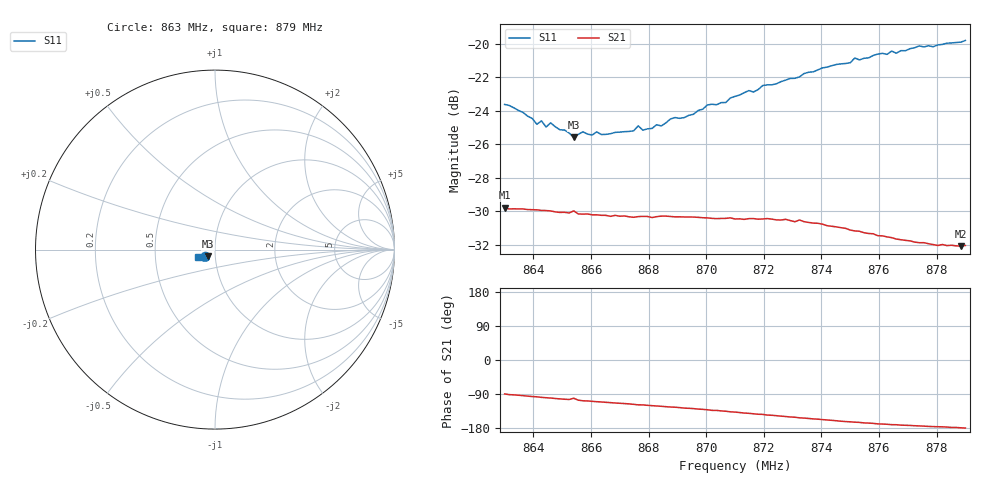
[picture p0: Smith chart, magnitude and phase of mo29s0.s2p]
# HZ S RI R 50
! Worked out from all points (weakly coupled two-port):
!   101 points, 863 MHz to 879 MHz, reference 50 ohm
!   highest |S21| = -29.78 dB at 863 MHz (marker M1); lowest = -32.1 dB at 878.84 MHz (marker M2)
!   lowest |S11| = -25.6 dB at 865.4 MHz (marker M3), VSWR 1.11, Z = 46.3 - j3.46 ohm
!   |S11| at or under -10 dB: start of sweep to end of sweep
!   S12 and S22 are empty: the file has one direction only
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8.63e8  -0.0538 -0.0382  0.0003 -0.0324  0 0  0 0
8.6364e8  -0.0501 -0.0373  -0.00232 -0.0321  0 0  0 0
8.6412e8  -0.0455 -0.0353  -0.00395 -0.0317  0 0  0 0
8.6428e8  -0.0457 -0.0372  -0.00478 -0.0315  0 0  0 0
8.6444e8  -0.0438 -0.0357  -0.00524 -0.0314  0 0  0 0
8.646e8  -0.0447 -0.0372  -0.00573 -0.0312  0 0  0 0
8.654e8  -0.0372 -0.0373  -0.006 -0.0312  0 0  0 0
8.6572e8  -0.039 -0.0383  -0.0094 -0.0296  0 0  0 0
8.6652e8  -0.0347 -0.041  -0.0114 -0.0286  0 0  0 0
8.6748e8  -0.0332 -0.0439  -0.0138 -0.0271  0 0  0 0
8.6764e8  -0.035 -0.0449  -0.0145 -0.0269  0 0  0 0
8.678e8  -0.0331 -0.0443  -0.0146 -0.0269  0 0  0 0
8.6844e8  -0.0323 -0.0469  -0.0163 -0.0259  0 0  0 0
8.6876e8  -0.0327 -0.0499  -0.0171 -0.0253  0 0  0 0
8.6924e8  -0.0326 -0.0507  -0.0183 -0.0243  0 0  0 0
8.7004e8  -0.0356 -0.0553  -0.02 -0.0227  0 0  0 0
8.7068e8  -0.0361 -0.0563  -0.0214 -0.0212  0 0  0 0
8.71e8  -0.0377 -0.0587  -0.0221 -0.0203  0 0  0 0
8.7372e8  -0.0526 -0.0637  -0.0266 -0.0121  0 0  0 0
8.7644e8  -0.076 -0.0574  -0.0261 -0.0043  0 0  0 0
8.7884e8  -0.092 -0.0423  -0.0249 -0.000458  0 0  0 0
8.79e8  -0.0941 -0.0406  -0.025 -0.00019  0 0  0 0
